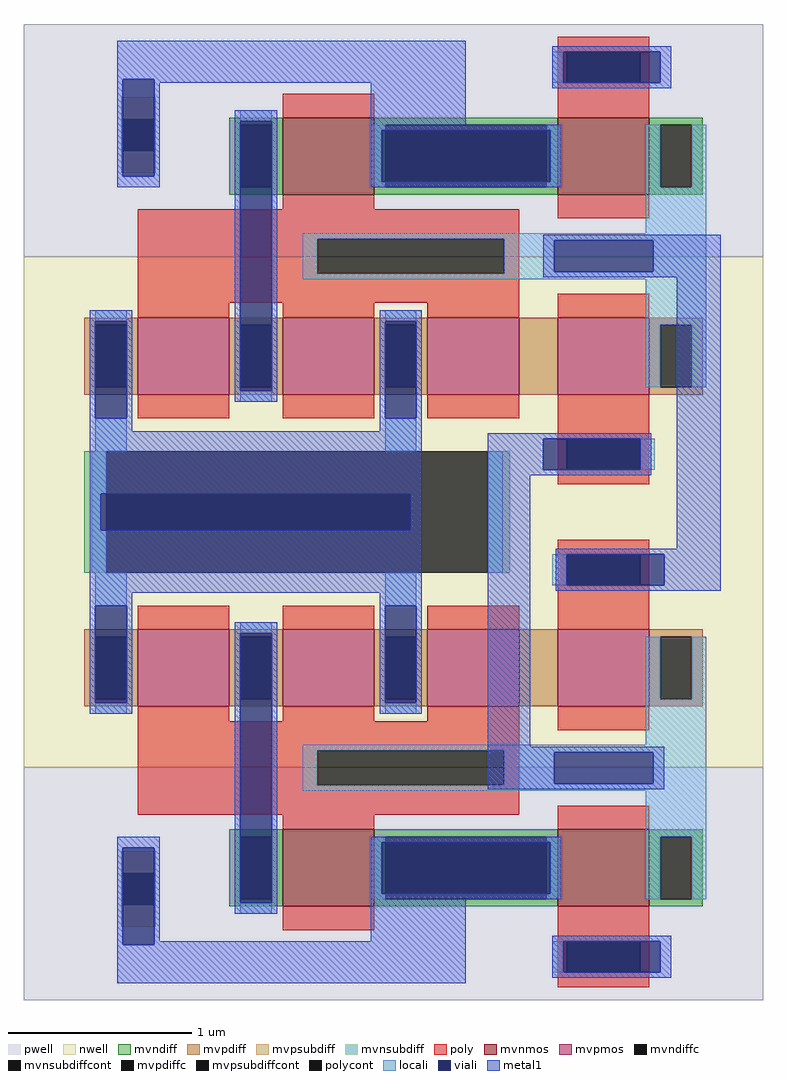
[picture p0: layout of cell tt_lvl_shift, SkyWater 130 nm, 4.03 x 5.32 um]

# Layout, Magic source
magic
tech sky130A
<< nwell >>
rect -1 -139 402 139
<< pwell >>
rect -1 139 402 266
rect -1 -266 402 -139
<< mvnmos >>
rect 140 173 190 215
rect 290 173 340 215
rect 140 -215 190 -173
rect 290 -215 340 -173
<< mvpmos >>
rect 61 64 111 106
rect 140 64 190 106
rect 219 64 269 106
rect 290 64 340 106
rect 61 -106 111 -64
rect 140 -106 190 -64
rect 219 -106 269 -64
rect 290 -106 340 -64
<< mvndiff >>
rect 111 211 140 215
rect 111 177 117 211
rect 134 177 140 211
rect 111 173 140 177
rect 190 211 290 215
rect 190 177 196 211
rect 284 177 290 211
rect 190 173 290 177
rect 340 211 369 215
rect 340 177 346 211
rect 363 177 369 211
rect 340 173 369 177
rect 111 -177 140 -173
rect 111 -211 117 -177
rect 134 -211 140 -177
rect 111 -215 140 -211
rect 190 -177 290 -173
rect 190 -211 196 -177
rect 284 -211 290 -177
rect 190 -215 290 -211
rect 340 -177 369 -173
rect 340 -211 346 -177
rect 363 -211 369 -177
rect 340 -215 369 -211
<< mvpdiff >>
rect 32 102 61 106
rect 32 68 38 102
rect 55 68 61 102
rect 32 64 61 68
rect 111 102 140 106
rect 111 68 117 102
rect 134 68 140 102
rect 111 64 140 68
rect 190 102 219 106
rect 190 68 196 102
rect 213 68 219 102
rect 190 64 219 68
rect 269 64 290 106
rect 340 102 369 106
rect 340 68 346 102
rect 363 68 369 102
rect 340 64 369 68
rect 32 -68 61 -64
rect 32 -102 38 -68
rect 55 -102 61 -68
rect 32 -106 61 -102
rect 111 -68 140 -64
rect 111 -102 117 -68
rect 134 -102 140 -68
rect 111 -106 140 -102
rect 190 -68 219 -64
rect 190 -102 196 -68
rect 213 -102 219 -68
rect 190 -106 219 -102
rect 269 -106 290 -64
rect 340 -68 369 -64
rect 340 -102 346 -68
rect 363 -102 369 -68
rect 340 -106 369 -102
<< mvndiffc >>
rect 117 177 134 211
rect 196 177 284 211
rect 346 177 363 211
rect 117 -211 134 -177
rect 196 -211 284 -177
rect 346 -211 363 -177
<< mvpdiffc >>
rect 38 68 55 102
rect 117 68 134 102
rect 196 68 213 102
rect 346 68 363 102
rect 38 -102 55 -68
rect 117 -102 134 -68
rect 196 -102 213 -68
rect 346 -102 363 -68
<< mvpsubdiff >>
rect 52 214 71 226
rect 52 197 53 214
rect 70 197 71 214
rect 52 185 71 197
rect 52 -197 71 -185
rect 52 -214 53 -197
rect 70 -214 71 -197
rect 52 -226 71 -214
<< mvnsubdiff >>
rect 32 -33 44 33
rect 252 -33 264 33
<< mvpsubdiffcont >>
rect 53 197 70 214
rect 53 -214 70 -197
<< mvnsubdiffcont >>
rect 44 -33 252 33
<< poly >>
rect 290 251 340 259
rect 290 234 295 251
rect 335 234 340 251
rect 140 215 190 228
rect 290 215 340 234
rect 140 165 190 173
rect 61 149 269 165
rect 290 160 340 173
rect 61 130 159 149
rect 261 130 269 149
rect 61 114 269 130
rect 61 106 111 114
rect 140 106 190 114
rect 219 106 269 114
rect 290 106 340 119
rect 61 51 111 64
rect 140 51 190 64
rect 219 51 269 64
rect 290 40 340 64
rect 290 23 295 40
rect 335 23 340 40
rect 290 15 340 23
rect 290 -23 340 -15
rect 290 -40 295 -23
rect 335 -40 340 -23
rect 61 -64 111 -51
rect 140 -64 190 -51
rect 219 -64 269 -51
rect 290 -64 340 -40
rect 61 -114 111 -106
rect 140 -114 190 -106
rect 219 -114 269 -106
rect 61 -130 269 -114
rect 290 -119 340 -106
rect 61 -149 159 -130
rect 261 -149 269 -130
rect 61 -165 269 -149
rect 140 -173 190 -165
rect 290 -173 340 -160
rect 140 -228 190 -215
rect 290 -234 340 -215
rect 290 -251 295 -234
rect 335 -251 340 -234
rect 290 -259 340 -251
<< polycont >>
rect 295 234 335 251
rect 159 130 261 149
rect 295 23 335 40
rect 295 -40 335 -23
rect 159 -149 261 -130
rect 295 -251 335 -234
<< locali >>
rect 287 234 293 251
rect 117 213 134 219
rect 188 208 196 211
rect 284 208 292 211
rect 188 180 194 208
rect 286 180 292 208
rect 188 177 196 180
rect 284 177 292 180
rect 338 177 346 211
rect 363 177 371 211
rect 38 104 55 110
rect 338 152 371 177
rect 151 149 371 152
rect 151 130 159 149
rect 261 148 371 149
rect 261 131 288 148
rect 342 131 371 148
rect 261 130 371 131
rect 151 127 371 130
rect 117 60 134 66
rect 196 104 213 110
rect 338 102 371 127
rect 338 68 346 102
rect 363 68 371 102
rect 38 33 55 51
rect 196 33 213 51
rect 36 10 44 33
rect 36 -10 41 10
rect 36 -33 44 -10
rect 252 -33 260 33
rect 335 23 343 40
rect 38 -51 55 -33
rect 196 -51 213 -33
rect 287 -40 295 -23
rect 38 -110 55 -104
rect 117 -66 134 -60
rect 196 -110 213 -104
rect 338 -102 346 -68
rect 363 -102 371 -68
rect 338 -127 371 -102
rect 151 -130 371 -127
rect 151 -149 159 -130
rect 261 -131 371 -130
rect 261 -148 288 -131
rect 342 -148 371 -131
rect 261 -149 371 -148
rect 151 -152 371 -149
rect 338 -177 371 -152
rect 188 -180 196 -177
rect 284 -180 292 -177
rect 188 -208 194 -180
rect 286 -208 292 -180
rect 188 -211 196 -208
rect 284 -211 292 -208
rect 338 -211 346 -177
rect 363 -211 371 -177
rect 117 -219 134 -213
rect 287 -251 293 -234
<< viali >>
rect 53 214 70 236
rect 293 234 295 251
rect 295 234 335 251
rect 335 234 346 251
rect 53 197 70 214
rect 53 183 70 197
rect 117 211 134 213
rect 117 177 134 211
rect 194 180 196 208
rect 196 180 284 208
rect 284 180 286 208
rect 38 102 55 104
rect 38 68 55 102
rect 38 51 55 68
rect 117 102 134 177
rect 288 131 342 148
rect 117 68 134 102
rect 117 66 134 68
rect 196 102 213 104
rect 196 68 213 102
rect 196 51 213 68
rect 41 -10 44 10
rect 44 -10 210 10
rect 282 23 295 40
rect 295 23 335 40
rect 38 -68 55 -51
rect 295 -40 335 -23
rect 335 -40 348 -23
rect 38 -102 55 -68
rect 38 -104 55 -102
rect 117 -68 134 -66
rect 117 -102 134 -68
rect 117 -177 134 -102
rect 196 -68 213 -51
rect 196 -102 213 -68
rect 196 -104 213 -102
rect 288 -148 342 -131
rect 53 -197 70 -183
rect 53 -214 70 -197
rect 53 -236 70 -214
rect 117 -211 134 -177
rect 194 -208 196 -180
rect 196 -208 284 -180
rect 284 -208 286 -180
rect 117 -213 134 -211
rect 293 -251 295 -234
rect 295 -251 335 -234
rect 335 -251 346 -234
<< metal1 >>
rect 50 236 240 257
rect 50 183 53 236
rect 70 234 240 236
rect 70 183 73 234
rect 50 177 73 183
rect 114 213 137 219
rect 35 104 58 110
rect 35 51 38 104
rect 55 51 58 104
rect 114 66 117 213
rect 134 66 137 213
rect 188 211 240 234
rect 287 251 352 254
rect 287 234 293 251
rect 346 234 352 251
rect 287 231 352 234
rect 188 208 292 211
rect 188 180 194 208
rect 286 180 292 208
rect 188 177 292 180
rect 282 148 379 151
rect 282 131 288 148
rect 342 131 379 148
rect 282 128 379 131
rect 114 60 137 66
rect 193 104 216 110
rect 35 44 58 51
rect 193 51 196 104
rect 213 51 216 104
rect 193 44 216 51
rect 35 10 216 44
rect 35 -10 41 10
rect 210 -10 216 10
rect 35 -44 216 -10
rect 35 -51 58 -44
rect 35 -104 38 -51
rect 55 -104 58 -51
rect 193 -51 216 -44
rect 35 -110 58 -104
rect 114 -66 137 -60
rect 50 -183 73 -177
rect 50 -236 53 -183
rect 70 -234 73 -183
rect 114 -213 117 -66
rect 134 -213 137 -66
rect 193 -104 196 -51
rect 213 -104 216 -51
rect 193 -110 216 -104
rect 252 40 341 43
rect 252 23 282 40
rect 335 23 341 40
rect 252 20 341 23
rect 252 -128 275 20
rect 355 -20 379 128
rect 289 -23 379 -20
rect 289 -40 295 -23
rect 348 -40 379 -23
rect 289 -43 379 -40
rect 252 -131 348 -128
rect 252 -148 288 -131
rect 342 -148 348 -131
rect 252 -151 348 -148
rect 114 -219 137 -213
rect 188 -180 292 -177
rect 188 -208 194 -180
rect 286 -208 292 -180
rect 188 -211 292 -208
rect 188 -234 240 -211
rect 70 -236 240 -234
rect 50 -257 240 -236
rect 287 -234 352 -231
rect 287 -251 293 -234
rect 346 -251 352 -234
rect 287 -254 352 -251
<< end >>
